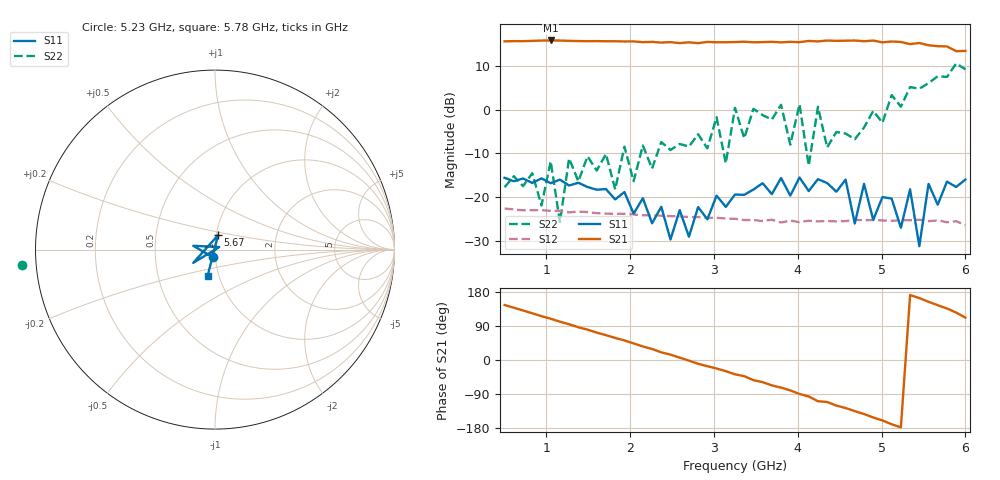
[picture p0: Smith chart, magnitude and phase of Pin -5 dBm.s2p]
! RsaToolbox (C) 2015 Rohde & Schwarz America
! Number of points: 51
! Number of ports: 2
! Balanced ports?: No
# Hz S RI R 50
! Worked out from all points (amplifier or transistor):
!   51 points, 500 MHz to 6 GHz, reference 50 ohm
!   highest |S21| = 15.8 dB at 1.05 GHz (marker M1)
!   |S21| within 3 dB of that: start of sweep to end of sweep
!   unconditionally stable (mu >= 1): start of sweep to 3.004 GHz; 3.047 GHz to 3.219 GHz; 4.288 GHz to 4.798 GHz (the widest 3 of 6)
!   at 1.38 GHz: K = 1.35, MAG = 15.9 dB, |S12| = -23.3 dB
!   at 3.25 GHz: K = 0.09, MSG = 20.2 dB, |S12| = -24.9 dB
!   at 6 GHz: K = -15.42, MSG = 19.9 dB, |S12| = -26.3 dB
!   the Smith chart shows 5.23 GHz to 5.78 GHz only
!   S11 on the Smith chart (normalised r, x): 5.23 GHz: 0.98, -0.09; 5.67 GHz: 1.02, +0.17; 5.78 GHz: 0.89, -0.26
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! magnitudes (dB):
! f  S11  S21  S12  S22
! 500 MHz  -15.6  15.6  -22.6  -17.7
! 940 MHz  -15.7  15.7  -23.0  -21.9
! 1.05 GHz  -16.8  15.8  -23.1  -11.8
! 1.16 GHz  -16.0  15.7  -23.2  -25.6
! 1.27 GHz  -17.3  15.7  -23.5  -11.1
! 1.49 GHz  -17.7  15.6  -23.4  -10.7
! 1.82 GHz  -20.5  15.6  -23.8  -18.2
! 2.37 GHz  -22.2  15.3  -24.2  -7.4
! 2.7 GHz  -29.0  15.3  -24.5  -8.4
! 3.03 GHz  -19.6  15.4  -24.7  -1.8
! 3.14 GHz  -22.2  15.4  -24.9  -12.3
! 3.25 GHz  -19.4  15.4  -24.9  0.4
! 3.91 GHz  -19.6  15.4  -25.3  -8.0
! 4.02 GHz  -15.5  15.4  -25.7  1.2
! 4.13 GHz  -18.6  15.6  -25.4  -12.8
! 4.24 GHz  -15.9  15.5  -25.5  0.6
! 4.35 GHz  -16.8  15.7  -25.4  -8.7
! 5.12 GHz  -20.3  15.5  -25.4  3.3
! 5.23 GHz  -27.0  15.4  -25.3  0.6
! 5.67 GHz  -21.7  14.5  -25.3  7.6
! 5.78 GHz  -16.4  14.4  -25.7  7.4
! 6 GHz  -16.0  13.4  -26.3  9.2
